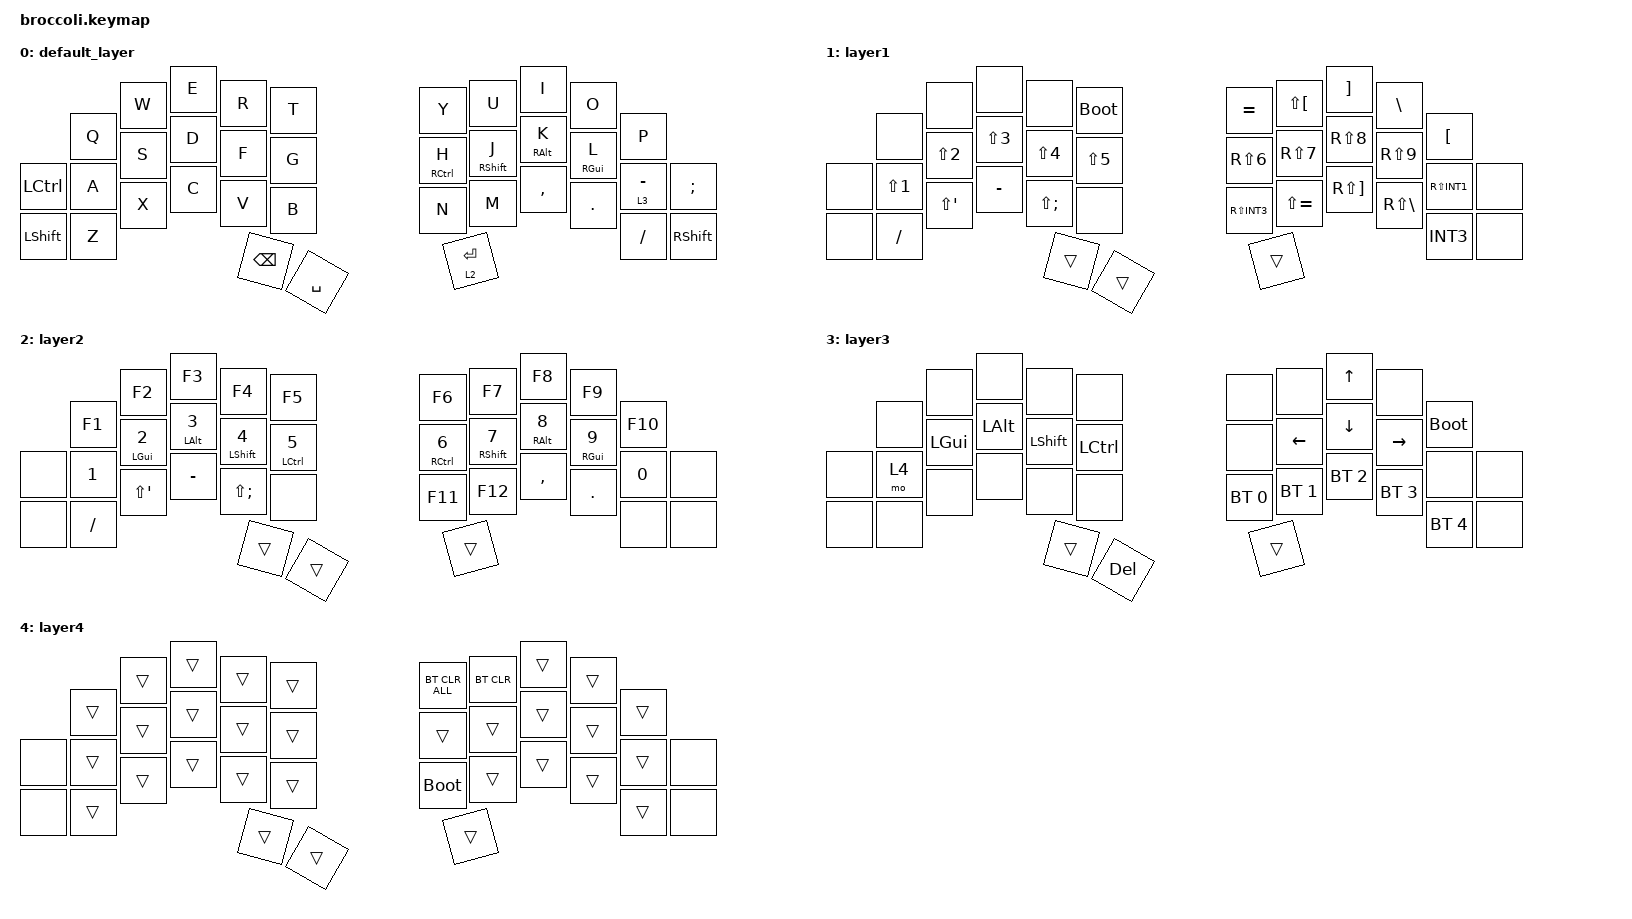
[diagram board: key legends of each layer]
// This file was generated from a template. Edit it to match your keyboard.
// See https://zmk.dev/docs/development/hardware-integration/new-shield for more instructions.

#include <input/processors.dtsi>
#include <dt-bindings/zmk/input_transform.h>
#include <behaviors.dtsi>
#include <dt-bindings/zmk/bt.h>
#include <dt-bindings/zmk/keys.h>
#include <dt-bindings/zmk/pointing.h>

/ {
    // Define a default keymap here.
    // See https://zmk.dev/docs/development/hardware-integration/new-shield#default-keymap.

    keymap {
        compatible = "zmk,keymap";

        default_layer {
            bindings = <
                  &kp Q  &kp W  &kp E          &kp R      &kp T    &kp Y             &kp U                   &kp I               &kp O               &kp P
&kp LEFT_CONTROL  &kp A  &kp S  &kp D          &kp F      &kp G    &hmr_r_2 RCTRL H  &hmr_r_2 RIGHT_SHIFT J  &hmr_r RIGHT_ALT K  &hmr_r RIGHT_GUI L  &lt_arrow 3 MINUS  &kp SEMICOLON
&kp LEFT_SHIFT    &kp Z  &kp X  &kp C          &kp V      &kp B    &kp N             &kp M                   &kp COMMA           &kp DOT             &kp SLASH          &kp RIGHT_SHIFT
                                &kp BACKSPACE  &kp SPACE                             &lt_thumb 2 ENTER
            >;
        };

        layer1 {
            bindings = <
       &none             &none                 &none             &none              &bootloader         &kp EQUAL         &kp LS(LEFT_BRACKET)  &kp RIGHT_BRACKET      &kp BACKSLASH      &kp LEFT_BRACKET
&none  &kp LS(NUMBER_1)  &kp LS(NUMBER_2)      &kp LS(NUMBER_3)  &kp LS(NUMBER_4)   &kp LS(NUMBER_5)    &kp RS(NUMBER_6)  &kp RS(NUMBER_7)      &kp RS(NUMBER_8)       &kp RS(NUMBER_9)   &kp RS(INT1)      &none
&none  &kp SLASH         &kp LS(SINGLE_QUOTE)  &kp MINUS         &kp LS(SEMICOLON)  &none               &kp RS(INT3)      &kp LS(EQUAL)         &kp RS(RIGHT_BRACKET)  &kp RS(BACKSLASH)  &kp INT3          &none
                                               &trans            &trans                                                   &trans
            >;
        };

        layer2 {
            bindings = <
       &kp F1        &kp F2                        &kp F3                        &kp F4                          &kp F5                       &kp F6                     &kp F7                           &kp F8                         &kp F9                         &kp F10
&none  &kp NUMBER_1  &hmr_num_l LEFT_GUI NUMBER_2  &hmr_num_l LEFT_ALT NUMBER_3  &hmr_num_l LEFT_SHIFT NUMBER_4  &hmr_num_l LCTRL NUMBER_5    &hmr_num_r RCTRL NUMBER_6  &hmr_num_r RIGHT_SHIFT NUMBER_7  &hmr_num_r RIGHT_ALT NUMBER_8  &hmr_num_r RIGHT_GUI NUMBER_9  &kp NUMBER_0  &none
&none  &kp SLASH     &kp LS(SINGLE_QUOTE)          &kp MINUS                     &kp LS(SEMICOLON)               &none                        &kp F11                    &kp F12                          &kp COMMA                      &kp DOT                        &none         &none
                                                   &trans                        &trans                                                                                  &trans
            >;
        };

        layer3 {
            bindings = <
       &none  &none         &none         &none           &none        &none         &none         &kp UP        &none         &bootloader
&none  &mo 4  &kp LEFT_GUI  &kp LEFT_ALT  &kp LEFT_SHIFT  &kp LCTRL    &none         &kp LEFT      &kp DOWN      &kp RIGHT     &none         &none
&none  &none  &none         &none         &none           &none        &bt BT_SEL 0  &bt BT_SEL 1  &bt BT_SEL 2  &bt BT_SEL 3  &bt BT_SEL 4  &none
                            &trans        &kp DELETE                                 &trans
            >;
        };

        layer4 {
            bindings = <
       &trans  &trans  &trans  &trans  &trans    &bt BT_CLR_ALL  &bt BT_CLR  &trans  &trans  &trans
&none  &trans  &trans  &trans  &trans  &trans    &trans          &trans      &trans  &trans  &trans  &none
&none  &trans  &trans  &trans  &trans  &trans    &bootloader     &trans      &trans  &trans  &trans  &none
                       &trans  &trans                            &trans
            >;
        };
    };

    combos {
        compatible = "zmk,combos";

        Eisu {
            bindings = <&kp LANGUAGE_2>;
            key-positions = <24 25>;
            layers = <0>;
            timeout-ms = <30>;
        };

        Kana {
            bindings = <&kp LANGUAGE_1>;
            key-positions = <30 31>;
            layers = <0>;
            timeout-ms = <30>;
        };

        LeftClick {
            bindings = <&mkp LCLK>;
            key-positions = <17 18>;
            layers = <0>;
            require-prior-idle-ms = <150>;
            timeout-ms = <30>;
        };

        RightClick {
            bindings = <&mkp RCLK>;
            key-positions = <18 19>;
            layers = <0>;
            require-prior-idle-ms = <150>;
            timeout-ms = <30>;
        };

        MiddleClick {
            bindings = <&mkp MCLK>;
            key-positions = <19 17>;
            layers = <0>;
            require-prior-idle-ms = <150>;
            timeout-ms = <30>;
        };

        Tab {
            bindings = <&kp TAB>;
            key-positions = <12 13>;
            layers = <0>;
            require-prior-idle-ms = <150>;
        };

        Escape {
            bindings = <&kp ESC>;
            key-positions = <1 2>;
            layers = <0>;
            require-prior-idle-ms = <150>;
        };

        DoubleQuote {
            bindings = <&kp LS(NUMBER_2)>;
            key-positions = <7 8>;
            layers = <0>;
            require-prior-idle-ms = <150>;
        };

        Semicolon {
            bindings = <&kp SEMICOLON>;
            key-positions = <6 7>;
            layers = <0>;
            require-prior-idle-ms = <150>;
        };

        Colon {
            bindings = <&kp SINGLE_QUOTE>;
            key-positions = <29 30>;
            layers = <0>;
            require-prior-idle-ms = <150>;
        };

        Scroll {
            bindings = <&mo 3>;
            key-positions = <17 18 19>;
            layers = <0>;
        };
    };

    behaviors {
        auto_caps_word: auto_caps_word {
            compatible = "zmk,behavior-auto-caps-word";
            #binding-cells = <0>;
            continue-list = <INT1 BACKSPACE DELETE>;
            display-name = "Auto Caps Word";
            auto-activate-upper-count = <3>;
        };

        hmr_l: hmr_l {
            compatible = "zmk,behavior-hold-tap";
            label = "HMR_L";
            bindings = <&kp>, <&kp>;

            #binding-cells = <2>;
            tapping-term-ms = <300>;
            flavor = "balanced";
            hold-trigger-key-positions = <5 32 33 28 29 19 18 17 16 6 7 8 9 20 21 30 31>;
            hold-trigger-on-release;
            require-prior-idle-ms = <150>;
        };

        hmr_r: hmr_r {
            compatible = "zmk,behavior-hold-tap";
            label = "HMR_R";
            bindings = <&kp>, <&kp>;

            #binding-cells = <2>;
            tapping-term-ms = <300>;
            flavor = "balanced";
            hold-trigger-key-positions = <22 23 24 14 13 12 11 10 0 1 2 3 4 15 25 26 27>;
            hold-trigger-on-release;
            require-prior-idle-ms = <150>;
        };

        lt_thumb: lt_thumb {
            compatible = "zmk,behavior-hold-tap";
            label = "LT_THUMB";
            bindings = <&mo>, <&kp>;

            #binding-cells = <2>;
            tapping-term-ms = <250>;
        };

        lt_arrow: lt_arrow {
            compatible = "zmk,behavior-hold-tap";
            label = "LT_ARROW";
            bindings = <&mo>, <&kp>;

            #binding-cells = <2>;
            flavor = "balanced";
            tapping-term-ms = <200>;
            require-prior-idle-ms = <150>;
        };

        lt_scroll: lt_scroll {
            compatible = "zmk,behavior-hold-tap";
            label = "LT_SCROLL";
            #binding-cells = <2>;
            tapping-term-ms = <300>;
            flavor = "tap-preferred";
            bindings = <&mo>, <&kp>;

            hold-while-undecided;
            require-prior-idle-ms = <150>;
        };

        hmr_l_2: hmr_l_2 {
            compatible = "zmk,behavior-hold-tap";
            label = "HMR_L_2";
            bindings = <&kp>, <&kp>;

            #binding-cells = <2>;
            tapping-term-ms = <300>;
            flavor = "balanced";
            hold-trigger-key-positions = <5 32 33 28 29 19 18 17 16 6 7 8 9 21 20 31 30>;
            hold-trigger-on-release;
            require-prior-idle-ms = <150>;
            hold-while-undecided;
        };

        hmr_r_2: hmr_r_2 {
            compatible = "zmk,behavior-hold-tap";
            label = "HMR_R_2";
            bindings = <&kp>, <&kp>;

            #binding-cells = <2>;
            tapping-term-ms = <300>;
            flavor = "balanced";
            hold-trigger-key-positions = <22 23 24 14 13 12 11 10 0 1 2 3 4 25 26 27 15>;
            hold-trigger-on-release;
            require-prior-idle-ms = <150>;
            hold-while-undecided;
        };

        hmr_num_l: hmr_num_l {
            compatible = "zmk,behavior-hold-tap";
            label = "HMR_NUM_L";
            bindings = <&kp>, <&kp>;

            #binding-cells = <2>;
            tapping-term-ms = <300>;
            flavor = "tap-preferred";
            hold-trigger-key-positions = <5 32 33 28 29 19 18 17 16 6 7 8 9 20 21 30 31>;
            hold-trigger-on-release;
            require-prior-idle-ms = <150>;
            retro-tap;
        };

        hmr_num_r: hmr_num_r {
            compatible = "zmk,behavior-hold-tap";
            label = "HMR_NUM_R";
            bindings = <&kp>, <&kp>;

            #binding-cells = <2>;
            tapping-term-ms = <300>;
            flavor = "tap-preferred";
            hold-trigger-key-positions = <22 23 24 14 13 12 11 10 0 1 2 3 4 25 26 27 15>;
            hold-trigger-on-release;
            require-prior-idle-ms = <150>;
            retro-tap;
        };
    };
};

&trackball_listener {
    input-processors = <&zip_xy_swap_mapper &zip_xy_transform INPUT_TRANSFORM_X_INVERT>;

    scroller {
        layers = <3>;
        input-processors = <&zip_xy_swap_mapper &zip_xy_transform INPUT_TRANSFORM_X_INVERT &zip_xy_to_scroll_mapper &zip_scroll_scaler 1 16>;
    };
};
